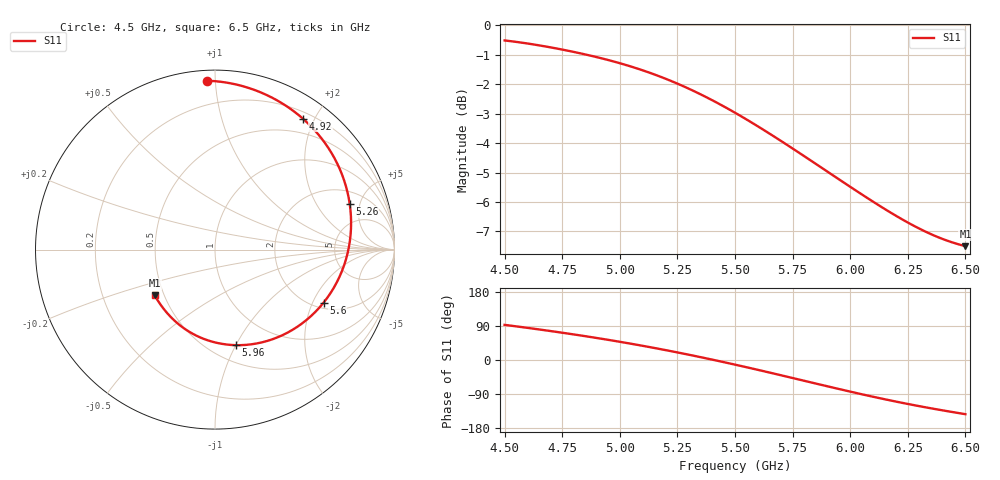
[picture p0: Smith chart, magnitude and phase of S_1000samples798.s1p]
! TOUCHSTONE file generated by CST MICROWAVE STUDIO
! Date and time: Sat Oct 29 10:30:09 2022
! Project name: L.cst
! Parameters = {Di=1.27; Epsilon_r=1.56; InnerDiameter=1.27; Length=2; Lf=10; Lg=60; OuterConductorThickness=0.2921; OuterDiameter=3.6; Wf=3; Wp=41.2; de=1.5; df=6.8; g=0.8; gx=4.44999; gy=3.55239; h=2.34; hf=1.524; px=13.7869; py=11.3312; w=9.7; wx=9.33689; wy=7.77878}
! Header version: 2018
! Port assignment regex: !\s*Touchstone port\s*([0-9]+)\s*=\s*(CST MWS port|CST DS port)\s*([0-9]+|Zmin|Zmax)\s*\(\"(.*)\"\)(\s*mode\s*([0-9]+))?.*
! Touchstone port assignment:
! Touchstone port 1 = CST MWS port 1 ("")
# GHz S DB R 50
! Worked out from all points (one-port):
!   101 points, 4.5 GHz to 6.5 GHz, reference 50 ohm
!   lowest |S11| = -7.5 dB at 6.5 GHz (marker M1), VSWR 2.46, Z = 22.2 - j13.7 ohm
!   |S11| at or under -10 dB: nowhere
!   S11 on the Smith chart (normalised r, x): 4.5 GHz: 0.06, +0.95; 4.92 GHz: 0.29, +1.84; 5.26 GHz: 2.92, +4.01; 5.6 GHz: 2.24, -2.43; 5.96 GHz: 0.66, -1.00; 6.5 GHz: 0.44, -0.27
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4.5  -0.52 92.7
4.58  -0.60 86.4
4.64  -0.67 81.4
4.76  -0.85 71.1
4.84  -0.98 63.8
4.92  -1.12 56.1
5  -1.29 48.0
5.08  -1.48 39.5
5.14  -1.64 32.9
5.2  -1.82 25.9
5.26  -2.02 18.8
5.32  -2.23 11.4
5.38  -2.46 3.7
5.44  -2.71 -4.1
5.5  -2.97 -12.2
5.6  -3.44 -26.1
5.68  -3.83 -37.4
5.76  -4.24 -49.0
5.8  -4.44 -54.8
5.86  -4.75 -63.5
5.9  -4.96 -69.2
5.96  -5.28 -77.8
6  -5.48 -83.4
6.06  -5.79 -91.7
6.14  -6.19 -102.3
6.26  -6.74 -117.2
6.38  -7.19 -130.6
6.5  -7.50 -143.0
